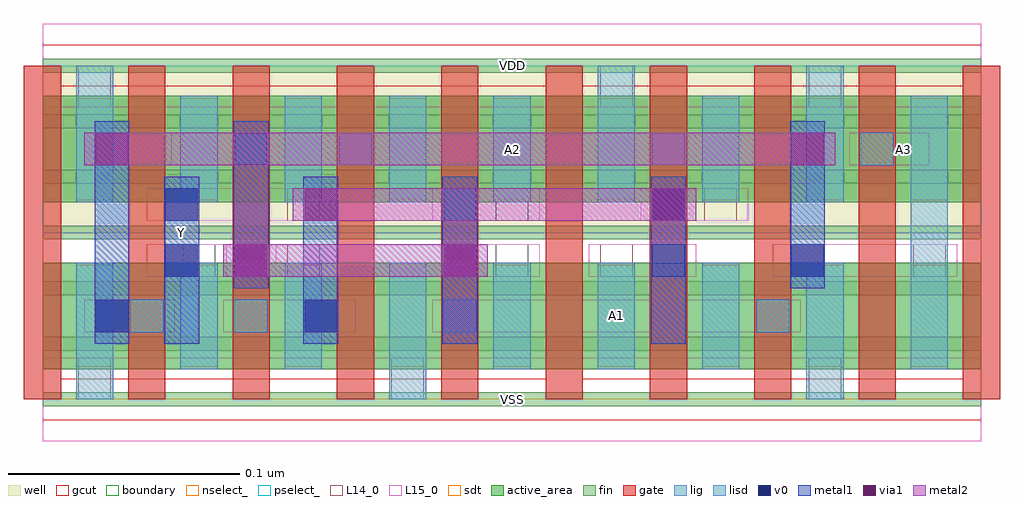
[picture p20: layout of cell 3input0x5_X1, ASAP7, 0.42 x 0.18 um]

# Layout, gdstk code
import gdstk
lib = gdstk.Library(unit=1e-6, precision=2.5e-10)
def R(c, l, rs):  # rectangles x0, y0, x1, y1
    for r in rs: c.add(gdstk.rectangle(r[:2], r[2:], *l))
def A(c, l, x, y, w, h, nx, ny, dx, dy):  # array of equal rectangles
    R(c, l, [(x+i*dx, y+j*dy, x+i*dx+w, y+j*dy+h) for i in range(nx) for j in range(ny)])
def P(c, l, *ps):  # polygons
    for p in ps: c.add(gdstk.Polygon(p, *l))
well = (1, 0)
fin = (2, 0)
gate = (7, 0)
gcut = (10, 0)
active_area = (11, 0)
nselect_ = (12, 0)
pselect_ = (13, 0)
L14_0 = (14, 0)
L15_0 = (15, 0)
lig = (16, 0)
lisd = (17, 0)
v0 = (18, 0)
metal1 = (19, 0)
metal2 = (20, 0)
via1 = (21, 0)
sdt = (88, 0)
boundary = (100, 0)

c_3input0x5_x1 = lib.new_cell('3input0x5_X1')
R(c_3input0x5_x1, well, [(0,0.072,0.405,0.144)])
A(c_3input0x5_x1, fin, 0, -0.003, 0.405, 0.006, 1, 7, 0, 0.024)
A(c_3input0x5_x1, gate, -0.008, 0, 0.016, 0.144, 10, 1, 0.045, 0)
P(c_3input0x5_x1, gcut, [(0,-0.009),(0,0),(-0.008,0),(-0.008,0.135),(0.008,0.135),(0.008,0.009),(0.217,0.009),(0.217,0.135),(0.233,0.135),(0.233,0.009),(0.397,0.009),(0.397,0.135),(-0.008,0.135),(-0.008,0.144),(0,0.144),(0,0.153),(0.405,0.153),(0.405,0.144),(0.413,0.144),(0.413,0),(0.405,0),(0.405,-0.009)])
R(c_3input0x5_x1, active_area, [(0,0.013,0.405,0.059), (0,0.085,0.405,0.131)])
R(c_3input0x5_x1, nselect_, [(0,0,0.405,0.072)])
R(c_3input0x5_x1, pselect_, [(0,0.072,0.405,0.144)])
A(c_3input0x5_x1, L14_0, 0.1055, 0.077, 0.014, 0.014, 3, 1, 0.09, 0)
R(c_3input0x5_x1, L14_0, [(0.0155,0,0.0295,0.018), (0.1505,0,0.1645,0.018), (0.3305,0,0.3445,0.018), (0.038,0.029,0.052,0.043), (0.083,0.029,0.097,0.043), (0.173,0.029,0.187,0.043), (0.308,0.029,0.322,0.043), (0.0605,0.053,0.0745,0.067), (0.1055,0.053,0.1195,0.067), (0.1955,0.053,0.2095,0.067), (0.2405,0.053,0.2545,0.067), (0.3755,0.053,0.3895,0.067), (0.0605,0.101,0.0745,0.115), (0.128,0.101,0.142,0.115), (0.263,0.101,0.277,0.115), (0.353,0.101,0.367,0.115), (0.0155,0.126,0.0295,0.144), (0.2405,0.126,0.2545,0.144), (0.3305,0.126,0.3445,0.144)])
R(c_3input0x5_x1, L15_0, [(0,-0.018,0.405,0.018), (0.018,0.029,0.057,0.043), (0.078,0.029,0.135,0.043), (0.168,0.029,0.327,0.043), (0.045,0.053,0.0795,0.067), (0.1005,0.053,0.2145,0.067), (0.2355,0.053,0.282,0.067), (0.315,0.053,0.3945,0.067), (0.045,0.077,0.1245,0.091), (0.168,0.077,0.2145,0.091), (0.258,0.077,0.3045,0.091), (0.0555,0.101,0.102,0.115), (0.123,0.101,0.282,0.115), (0.348,0.101,0.3825,0.115), (0,0.126,0.405,0.162)])
R(c_3input0x5_x1, lig, [(0.038,0.029,0.052,0.043), (0.083,0.029,0.097,0.043), (0.173,0.029,0.187,0.043), (0.308,0.029,0.322,0.043), (0.128,0.101,0.142,0.115), (0.263,0.101,0.277,0.115), (0.353,0.101,0.367,0.115)])
A(c_3input0x5_x1, lisd, 0.1945, 0.013, 0.016, 0.046, 3, 1, 0.045, 0)
A(c_3input0x5_x1, lisd, 0.0595, 0.085, 0.016, 0.046, 4, 1, 0.045, 0)
R(c_3input0x5_x1, lisd, [(0.0145,0,0.0305,0.059), (0.1495,0,0.1655,0.059), (0.3295,0,0.3455,0.059), (0.0595,0.013,0.0755,0.059), (0.1045,0.013,0.1205,0.059), (0.3745,0.013,0.3905,0.131), (0.0145,0.085,0.0305,0.144), (0.2395,0.085,0.2555,0.144), (0.2845,0.085,0.3005,0.131), (0.3295,0.085,0.3455,0.144)])
R(c_3input0x5_x1, v0, [(0.023,0.029,0.037,0.043), (0.113,0.029,0.127,0.043), (0.053,0.053,0.067,0.067), (0.263,0.053,0.277,0.067), (0.323,0.053,0.337,0.067), (0.053,0.077,0.067,0.091), (0.173,0.077,0.187,0.091), (0.263,0.077,0.277,0.091), (0.083,0.101,0.097,0.115)])
A(c_3input0x5_x1, metal1, 0.0525, 0.024, 0.015, 0.072, 3, 1, 0.06, 0)
R(c_3input0x5_x1, metal1, [(0.0225,0.024,0.0375,0.12), (0.2625,0.024,0.2775,0.096), (0.0825,0.048,0.0975,0.12), (0.3225,0.048,0.3375,0.12)])
R(c_3input0x5_x1, metal2, [(0.078,0.053,0.192,0.067), (0.108,0.077,0.282,0.091), (0.018,0.101,0.342,0.115)])
R(c_3input0x5_x1, via1, [(0.083,0.053,0.097,0.067), (0.173,0.053,0.187,0.067), (0.113,0.077,0.127,0.091), (0.263,0.077,0.277,0.091), (0.023,0.101,0.037,0.115), (0.323,0.101,0.337,0.115)])
A(c_3input0x5_x1, sdt, 0.0145, 0.014, 0.016, 0.044, 9, 2, 0.045, 0.072)
R(c_3input0x5_x1, boundary, [(0,0,0.405,0.144)])
c_3input0x5_x1.add(gdstk.Label('A2', (0.2025,0.108), layer=15, texttype=251))
c_3input0x5_x1.add(gdstk.Label('VSS', (0.2025,0), layer=15, texttype=251))
c_3input0x5_x1.add(gdstk.Label('VDD', (0.2025,0.144), layer=15, texttype=251))
c_3input0x5_x1.add(gdstk.Label('VSS', (0.2025,0), layer=15, texttype=251))
c_3input0x5_x1.add(gdstk.Label('VDD', (0.2025,0.144), layer=15, texttype=251))
c_3input0x5_x1.add(gdstk.Label('A3', (0.3713,0.108), layer=15, texttype=251))
c_3input0x5_x1.add(gdstk.Label('VSS', (0.2025,0), layer=15, texttype=251))
c_3input0x5_x1.add(gdstk.Label('VDD', (0.2025,0.144), layer=15, texttype=251))
c_3input0x5_x1.add(gdstk.Label('A1', (0.2475,0.036), layer=15, texttype=251))
c_3input0x5_x1.add(gdstk.Label('VSS', (0.2025,0), layer=15, texttype=251))
c_3input0x5_x1.add(gdstk.Label('VDD', (0.2025,0.144), layer=15, texttype=251))
c_3input0x5_x1.add(gdstk.Label('VSS', (0.2025,0), layer=3, texttype=251))
c_3input0x5_x1.add(gdstk.Label('VSS', (0.2025,0), layer=3, texttype=251))
c_3input0x5_x1.add(gdstk.Label('VSS', (0.2025,0), layer=3, texttype=251))
c_3input0x5_x1.add(gdstk.Label('VSS', (0.2025,0), layer=3, texttype=251))
c_3input0x5_x1.add(gdstk.Label('VDD', (0.2025,0.144), layer=1, texttype=251))
c_3input0x5_x1.add(gdstk.Label('VDD', (0.2025,0.144), layer=1, texttype=251))
c_3input0x5_x1.add(gdstk.Label('VDD', (0.2025,0.144), layer=1, texttype=251))
c_3input0x5_x1.add(gdstk.Label('VDD', (0.2025,0.144), layer=1, texttype=251))
c_3input0x5_x1.add(gdstk.Label('Y', (0.06,0.072), layer=19, texttype=251))

lib.write_gds('3input0x5_X1.gds')
